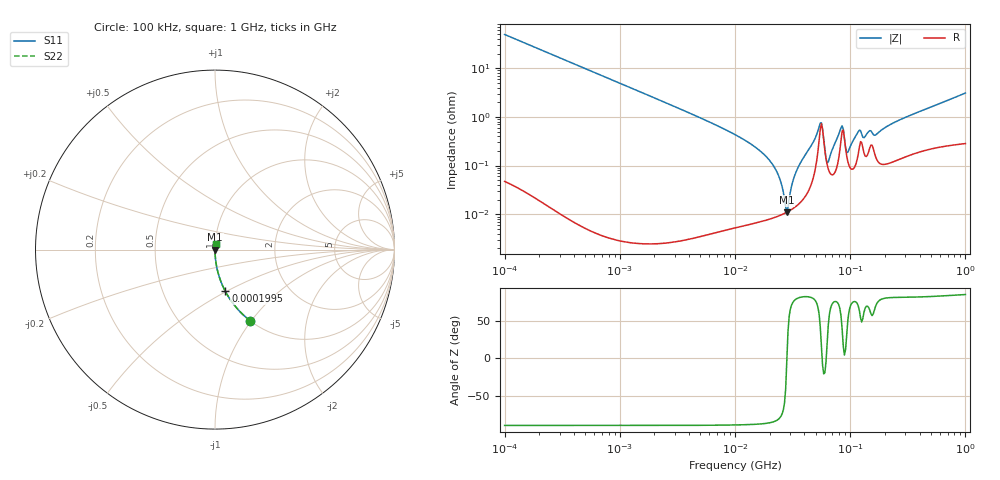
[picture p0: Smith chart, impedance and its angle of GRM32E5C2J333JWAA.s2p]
!Murata Part Number: GRM32E5C2J333JWAA
!These Parameters are Measured in Series Mode Connection
!Data Generated on Mar 30, 2021
!  o--ll--o
!Port1  Port2
!  o------o
!Operation Temp=25[degC], DC Bias Voltage=0[V]
!Freq. Start=100[kHz] Stop=1000[MHz] 401[Steps]
# Hz S RI R 50
!Freq.(Hz) S11(Real) S11(Imag) S21(Real) S21(Imag) S12(Real) S12(Imag) S22(Real) S22(Imag)
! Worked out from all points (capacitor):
!   401 points, 100 kHz to 1 GHz, reference 50 ohm
!   read as one part in series: C = 32.3 nF near 104.7 kHz
!   lowest |Z| = 11 mohm at 28.18 MHz (marker M1)
!   series resonance near 28.23 MHz, so ESL is about 980 pH
!   S11 on the Smith chart (normalised r, x): 100 kHz: 1.00, -0.98; 199.5 kHz: 1.00, -0.49; 1 GHz: 1.01, +0.06
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100000  0.1954 -0.396  0.8046 0.396  0.8046 0.396  0.1954 -0.396
199526  0.0576 -0.2326  0.9424 0.2326  0.9424 0.2326  0.0576 -0.2326
467735  0.011 -0.1042  0.989 0.1042  0.989 0.1042  0.011 -0.1042
2187762  0.000526 -0.0224  0.9995 0.0224  0.9995 0.0224  0.000526 -0.0224
1e7  7.12e-05 -0.00433  0.9999 0.00433  0.9999 0.00433  7.12e-05 -0.00433
1.548817e7  7.23e-05 -0.00226  0.9999 0.00226  0.9999 0.00226  7.23e-05 -0.00226
2.041738e7  8.22e-05 -0.00119  0.9999 0.00119  0.9999 0.00119  8.22e-05 -0.00119
2.398833e7  9.29e-05 -0.0006  0.9999 0.0006  0.9999 0.0006  9.29e-05 -0.0006
2.818383e7  0.00011 -6.3e-06  0.9999 6.3e-06  0.9999 6.3e-06  0.00011 -6.3e-06
3.388442e7  0.000146 0.000727  0.9999 -0.000727  0.9999 -0.000727  0.000146 0.000727
4.677351e7  0.000477 0.00274  0.9995 -0.00274  0.9995 -0.00274  0.000477 0.00274
5.495409e7  0.0055 0.00494  0.9945 -0.00494  0.9945 -0.00494  0.0055 0.00494
5.754399e7  0.00554 -0.000915  0.9945 0.000915  0.9945 0.000915  0.00554 -0.000915
6.16595e7  0.00139 -0.000122  0.9986 0.000122  0.9986 0.000122  0.00139 -0.000122
6.456542e7  0.000849 0.000841  0.9992 -0.000841  0.9992 -0.000841  0.000849 0.000841
8.317638e7  0.00329 0.00495  0.9967 -0.00495  0.9967 -0.00495  0.00329 0.00495
9.549926e7  0.00119 0.00147  0.9988 -0.00147  0.9988 -0.00147  0.00119 0.00147
1.174898e8  0.00176 0.00464  0.9982 -0.00464  0.9982 -0.00464  0.00176 0.00464
1.318257e8  0.0018 0.00327  0.9982 -0.00327  0.9982 -0.00327  0.0018 0.00327
1.659587e8  0.00155 0.00396  0.9985 -0.00396  0.9985 -0.00396  0.00155 0.00396
2.187762e8  0.00116 0.0067  0.9988 -0.0067  0.9988 -0.0067  0.00116 0.0067
1e9  0.00376 0.0306  0.9962 -0.0306  0.9962 -0.0306  0.00376 0.0306
